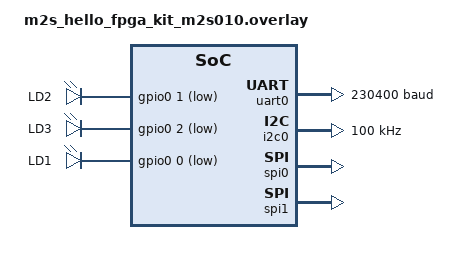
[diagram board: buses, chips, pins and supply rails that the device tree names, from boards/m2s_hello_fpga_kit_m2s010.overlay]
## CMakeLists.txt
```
# SPDX-License-Identifier: Apache-2.0
#
# I2C + SPI demo for the M2S Hello FPGA Kit (structure: see README.md).
#
#   src/main.c        start-up: initialise the modules, run the demo loop
#   src/app/          wait for the host, demo loop (LTR-329 + raw SPI every second)
#   src/devices/      one module per device: LTR-329 (I2C_0), raw SPI_0,
#                     SPI flash U8 (SPI_1), debug LEDs LD1-LD3
#   src/platform/     SmartFusion2 specifics (MMUART fractional baud divisor),
#                     console output next to the shell
#   src/shell/        "hk ..." shell commands for tools/hello_fpga_gui
#
# Zephyr picks up boards/m2s_hello_fpga_kit_m2s010.overlay automatically.

cmake_minimum_required(VERSION 3.20.0)

find_package(Zephyr REQUIRED HINTS $ENV{ZEPHYR_BASE})
project(i2c_spi_demo LANGUAGES C)

target_include_directories(app PRIVATE
	src/app
	src/devices
	src/platform
	src/shell
)

target_sources(app PRIVATE
	src/main.c

	src/app/demo_loop.c
	src/app/host_wait.c

	src/devices/ltr329.c
	src/devices/spi_raw.c
	src/devices/sst26.c
	src/devices/leds.c

	src/platform/console_out.c
	src/platform/sf2_mmuart.c

	src/shell/hk_util.c
	src/shell/hk_shell.c
	src/shell/hk_cmd_i2c.c
	src/shell/hk_cmd_spi.c
	src/shell/hk_cmd_flash.c
	src/shell/hk_cmd_led.c
)
```

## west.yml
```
manifest:
  remotes:
    - name: zephyrproject-rtos
      url-base: https://github.com/zephyrproject-rtos

  projects:
    - name: zephyr
      remote: zephyrproject-rtos
      # The m2s_hello_fpga_kit board is part of Zephyr from 4.5.
      # Move to v4.5.0 once it is tagged.
      revision: v4.5.0-rc3
      import:
        # Only the modules SmartFusion2 firmware needs; add names here
        # (for example littlefs, mbedtls) when an application uses them.
        name-allowlist:
          - cmsis_6
```

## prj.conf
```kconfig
# I2C demo (LTR-329ALS on i2c0) and GUI commands on I2C_0
CONFIG_I2C=y
# The MSS I2C driver (i2c_mchp_mss.c) waits K_TICKS(1000) for the end of a
# transfer. With the default 100 ticks/s that is 10 s per transfer when the
# bus does not respond (e.g. no pull-ups); with 1000 ticks/s it is 1 s.
CONFIG_SYS_CLOCK_TICKS_PER_SEC=1000

# SPI: raw transfers on spi0 (SS0), SPI flash U8 on spi1 (SS0)
CONFIG_SPI=y

CONFIG_PRINTK=y

# The kit's PIC32 (USB bridge of the console) must not receive anything from
# the SmartFusion2 before the PC has opened the link: no boot banner, shell
# started by src/app/host_wait.c after the first byte from the host.
CONFIG_BOOT_BANNER=n
CONFIG_SHELL_AUTOSTART=n

# Debug LEDs LD1-LD3 on MSS GPIO_0..2 (enabled by the board defconfig too)
CONFIG_GPIO=y

# Shell on the console UART (uart0 -> PIC32 -> USB) for the test GUI
# (tools/hello_fpga_gui). Commands: src/shell/.
CONFIG_SHELL=y
CONFIG_SHELL_BACKEND_SERIAL=y
CONFIG_UART_INTERRUPT_DRIVEN=y
# Plain text for the GUI: no VT100 colours
CONFIG_SHELL_VT100_COLORS=n
CONFIG_SHELL_PROMPT_UART="hk:~$ "
# Start-up and demo loop messages go through the shell (src/platform/
# console_out.c) and wait at most this long for the shell's TX mutex before
# they are dropped (default 50 ms; a 640-character line takes ~28 ms at
# 230400 bit/s)
CONFIG_SHELL_TX_TIMEOUT_MS=500
# Room for 256-byte payloads as hex (512 characters) in one command line
CONFIG_SHELL_CMD_BUFF_SIZE=640
CONFIG_SHELL_BACKEND_SERIAL_RX_RING_BUFFER_SIZE=1024
CONFIG_SHELL_STACK_SIZE=4096

# Taken over from the I2C example (apps/02_solution_i2c_driver)
CONFIG_MINIMAL_LIBC=y
CONFIG_PICOLIBC=n
```

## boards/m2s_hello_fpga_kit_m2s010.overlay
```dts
/*
 * SPDX-License-Identifier: Apache-2.0
 *
 * M2S Hello FPGA Kit (M2S010-VF256): MSS peripherals used by the demo and the
 * test GUI.
 *
 * i2c0, spi0 and spi1 are defined (disabled) in Zephyr's
 * dts/arm/microchip/smartfusion2/m2s010.dtsi; this overlay turns them on.
 * The Libero design must route them as described in
 * docs/libero-hello-fpga-vf256.md and created by the Libero script in
 * Libero-Microchip-Hello-FPGA-Kit (all through the FPGA fabric):
 *   MMUART_0: TX H12, RX H13 (UART_TX_SF2 / UART_RX_SF2 -> PIC32)
 *   I2C_0:    SDA P8 (Arduino SDA), SCL R8 (Arduino SCL), header J7-9 / J7-10
 *   SPI_0:    SCK R13 (D13), MOSI R11 (D11), MISO T11 (D12), SS0 M10 (D10), J7
 *   SPI_1:    SCK T6, MOSI M9 (SI), MISO N10 (SO), SS0 M7 (CS#) -> U8 SST26VF064B
 *   GPIO_0-2: LD1 T12, LD2 T13, LD3 G13 (debug LEDs of the SmartFusion2)
 * MSS clocks: M3 100 MHz, APB_0/APB_1 50 MHz, matching the board DTS.
 */

#include <zephyr/dt-bindings/gpio/gpio.h>
#include <zephyr/dt-bindings/i2c/i2c.h>

/*
 * Console: MMUART_0 reaches the kit's USB port through the PIC32, which talks
 * to the SmartFusion2 at 230400 bit/s (PC side 460800 bit/s, PIC32 forwards
 * after '&'). Same rate as in SmartManipulator-X-Controller. The fractional
 * divisor for this rate is set in src/platform/sf2_mmuart.c.
 */
&uart0 {
	current-speed = <230400>;
};

/* LTR-329ALS light sensor (from apps/02_solution_i2c_driver), GUI I2C tab */
&i2c0 {
	status = "okay";
	clock-frequency = <I2C_BITRATE_STANDARD>;
};

/* Raw SPI transfers on SS0 (from apps/03_demo_spi_raw_cs1), GUI SPI tab */
&spi0 {
	status = "okay";
};

/*
 * Debug LEDs LD1-LD3 (schematic sheet 6 "DEBUG LED - SF2"): anode to 3.3 V,
 * cathode through 330 R to LEDx_DEBUG, so a LED is ON when the pin is LOW.
 * The board DTS declares led0 GPIO_ACTIVE_HIGH; it is overridden here.
 * MSS GPIO_0..2 are routed through the fabric to T12, T13, G13.
 */
/ {
	aliases {
		led1 = &led1;
		led2 = &led2;
	};

	leds {
		led1: user_led_1 {
			gpios = <&gpio0 1 GPIO_ACTIVE_LOW>;
			label = "LD2";
		};

		led2: user_led_2 {
			gpios = <&gpio0 2 GPIO_ACTIVE_LOW>;
			label = "LD3";
		};
	};
};

&led0 {
	gpios = <&gpio0 0 GPIO_ACTIVE_LOW>;
	label = "LD1";
};

/* SPI flash U8 (SST26VF064B) on SS0, accessed by src/devices/sst26.c */
&spi1 {
	status = "okay";
};
```

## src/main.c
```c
/*
 * SPDX-License-Identifier: Apache-2.0
 *
 * I2C + SPI demo for the M2S Hello FPGA Kit (SmartFusion2 M2S010, Zephyr).
 *
 * Project structure:
 *   main.c               start-up: initialise the modules, run the demo
 *   app/host_wait.c      stay silent until the host sends a key (PIC32!)
 *   app/demo_loop.c      periodic demo (LTR-329 + SPI), "hk loop on|off"
 *   devices/ltr329.c     LTR-329ALS light sensor on I2C_0 (example 02)
 *   devices/spi_raw.c    raw transfers on SPI_0 SS0 (example 03)
 *   devices/sst26.c      SPI flash U8 SST26VF064B on SPI_1
 *   devices/leds.c       debug LEDs LD1-LD3 on MSS GPIO_0..2
 *   platform/sf2_mmuart.c console UART at 230400 bit/s (PIC32 USB bridge)
 *   shell/hk_*.c         shell commands "hk ..." used by tools/hello_fpga_gui
 *
 * Hardware: Libero design from Libero-Microchip-Hello-FPGA-Kit, pins in
 * docs/libero-hello-fpga-vf256.md.
 */

#include <stdbool.h>
#include <zephyr/kernel.h>

#include "console_out.h"
#include "demo_loop.h"
#include "host_wait.h"
#include "leds.h"
#include "ltr329.h"
#include "spi_raw.h"

int main(void)
{
	bool sensor_ok;
	bool spi_ok;

	/* Nothing may be sent to the PIC32 before the host is there */
	host_wait_for_key();

	console_out("I2C + SPI demo: %s\n", CONFIG_BOARD_TARGET);

	/* Debug LEDs LD1-LD3 for "hk led" (all off) */
	if (leds_init() < 0) {
		console_out("LEDs: not all LED GPIOs are ready\n");
	}

	/* I2C: light sensor LTR-329ALS */
	sensor_ok = (ltr329_init() == 0);

	/* SPI_0 for the raw transfers */
	spi_ok = spi_raw_ready();
	if (!spi_ok) {
		console_out("SPI bus is not ready\n");
	}

	/* The shell ("hk ...") runs in its own thread; main runs the demo */
	demo_loop_run(sensor_ok, spi_ok);

	return 0;
}
```
